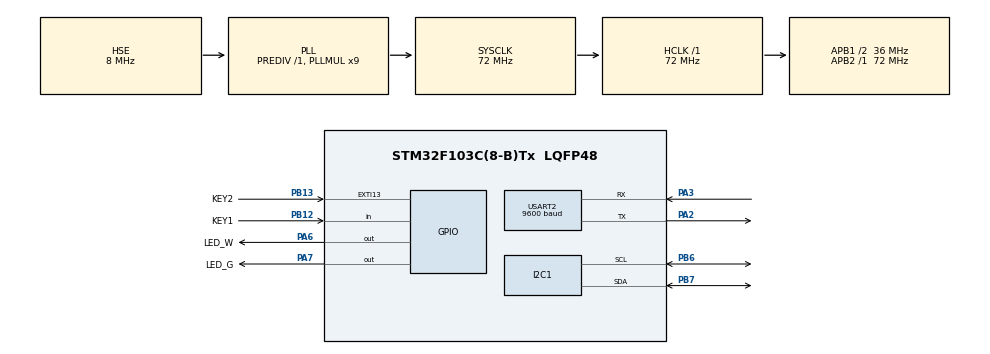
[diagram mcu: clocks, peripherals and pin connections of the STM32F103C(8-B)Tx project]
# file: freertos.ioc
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I2C1.I2C_Mode=I2C_Fast
Mcu.Family=STM32F1
Mcu.Name=STM32F103C(8-B)Tx
Mcu.Package=LQFP48
NVIC.EXTI15_10_IRQn=true\:7\:0\:true\:false\:true\:true\:true\:true
NVIC.PriorityGroup=NVIC_PRIORITYGROUP_4
NVIC.TIM4_IRQn=true\:15\:0\:false\:false\:true\:false\:true\:true
NVIC.TimeBase=TIM4_IRQn
NVIC.TimeBaseIP=TIM4
NVIC.USART2_IRQn=true\:0\:0\:true\:false\:true\:true\:true\:true
PA13.Mode=Serial_Wire
PA13.Signal=SYS_JTMS-SWDIO
PA14.Mode=Serial_Wire
PA14.Signal=SYS_JTCK-SWCLK
PA2.Mode=Asynchronous
PA2.Signal=USART2_TX
PA3.Mode=Asynchronous
PA3.Signal=USART2_RX
PA6.GPIO_Label=LED_W
PA6.Signal=GPIO_Output
PA7.GPIO_Label=LED_G
PA7.Signal=GPIO_Output
PB12.GPIO_Label=KEY1
PB12.GPIO_PuPd=GPIO_PULLUP
PB12.Signal=GPIO_Input
PB13.GPIO_Label=KEY2
PB13.GPIO_ModeDefaultEXTI=GPIO_MODE_IT_FALLING
PB13.GPIO_PuPd=GPIO_PULLUP
PB13.Signal=GPXTI13
PB6.Mode=I2C
PB6.Signal=I2C1_SCL
PB7.Mode=I2C
PB7.Signal=I2C1_SDA
PD0-OSC_IN.Mode=HSE-External-Oscillator
PD0-OSC_IN.Signal=RCC_OSC_IN
PD1-OSC_OUT.Mode=HSE-External-Oscillator
PD1-OSC_OUT.Signal=RCC_OSC_OUT
ProjectManager.HeapSize=0x200
ProjectManager.StackSize=0x400
ProjectManager.TargetToolchain=MDK-ARM V5.27
RCC.AHBFreq_Value=72000000
RCC.APB1CLKDivider=RCC_HCLK_DIV2
RCC.APB1Freq_Value=36000000
RCC.APB1TimFreq_Value=72000000
RCC.APB2Freq_Value=72000000
RCC.APB2TimFreq_Value=72000000
RCC.HCLKFreq_Value=72000000
RCC.PLLMUL=RCC_PLL_MUL9
RCC.PLLSourceVirtual=RCC_PLLSOURCE_HSE
RCC.SYSCLKFreq_VALUE=72000000
RCC.SYSCLKSource=RCC_SYSCLKSOURCE_PLLCLK
RCC.USBFreq_Value=72000000
USART2.BaudRate=9600
USART2.VirtualMode=VM_ASYNC
VP_SYS_VS_tim4.Mode=TIM4
board=custom

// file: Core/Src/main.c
/* USER CODE BEGIN Header */
/**
  ******************************************************************************
  * @file           : main.c
  * @brief          : Main program body
  ******************************************************************************
  * @attention
  *
  * Copyright (c) 2024 STMicroelectronics.
  * All rights reserved.
  *
  * This software is licensed under terms that can be found in the LICENSE file
  * in the root directory of this software component.
  * If no LICENSE file comes with this software, it is provided AS-IS.
  *
  ******************************************************************************
  */
/* USER CODE END Header */
#include "main.h"
#include "i2c.h"
#include "usart.h"
#include "gpio.h"

/* USER CODE BEGIN Includes */
#include <stdio.h>
#include <string.h>
#include "FreeRTOSConfig.h"
#include "FreeRTOS.h"
#include "task.h"
#include "oled.h"
/* USER CODE END Includes */

void SystemClock_Config(void);

/* USER CODE BEGIN 0 */

int fputc(int ch, FILE *f)
{
	HAL_UART_Transmit(&huart2, (uint8_t *)&ch, 1, 0xffff);
	return ch;
}

TaskHandle_t Star_TaskHandle_t, Wled_TaskHandle_t, Gled_TaskHandle_t, Key1_TaskHandle_t, Print_TaskHandle_t;

void Wled_task(void* arg)
{
	while(1)
	{
		HAL_GPIO_TogglePin(LED_W_GPIO_Port, LED_W_Pin);
		vTaskDelay(500);
		printf("Wled_task\r\n");
	}
}

void Gled_task(void* arg)
{
	while(1)
	{
		HAL_GPIO_TogglePin(LED_G_GPIO_Port, LED_G_Pin);
		vTaskDelay(300);
		printf("Gled_task\r\n");
	}
}

void key1_task(void* arg)
{
	uint8_t end_flag = 0;
	printf("key1_task working\r\n");
	while(1)
	{
		if(HAL_GPIO_ReadPin(KEY1_GPIO_Port,KEY1_Pin) == GPIO_PIN_RESET)
		{
			vTaskDelay(50);
			if(HAL_GPIO_ReadPin(KEY1_GPIO_Port,KEY1_Pin) == GPIO_PIN_RESET)
				end_flag += 1;

		}

		if(end_flag == 1)
		{
			if(eTaskGetState(Wled_TaskHandle_t) == eSuspended)
			{
				//恢复任务
				vTaskResume(Wled_TaskHandle_t);
				printf("key1_task resume\r\n");
			}
			else
			{
				//挂起任务
				vTaskSuspend(Wled_TaskHandle_t);
				printf("key1_task suspend\r\n");
			}
			end_flag = 0;
		}

		vTaskDelay(100);
	}

}

void start_task(void* arg)
{
	//进入临界区
	taskENTER_CRITICAL();

	// 创建任务led1灯任务
	if(xTaskCreate(Wled_task, "Wled_task", 32, NULL, 3, &Wled_TaskHandle_t) == 1)
		printf("creat Wled_task sussces\r\n");
	else
		printf("creat Wled_task false\r\n");

	// 创建任务led2灯任务
	if(xTaskCreate(Gled_task, "Gled_task", 32, NULL, 4, &Gled_TaskHandle_t) == 1)
		printf("creat Gled_task sussces\r\n");
	else
		printf("creat Gled_task false\r\n");

	// 创建按键检测任务
	if(xTaskCreate(key1_task, "key1_task", 32, NULL, 5, &Key1_TaskHandle_t) == 1)
		printf("creat key1_task sussces\r\n");
	else
		printf("creat key1_task false\r\n");

	//退出临界区
	taskEXIT_CRITICAL();

	vTaskDelete(NULL);

}

/* USER CODE END 0 */

int main(void)
{

  /* MCU Configuration--------------------------------------------------------*/

  /* Reset of all peripherals, Initializes the Flash interface and the Systick. */
  HAL_Init();

  /* Configure the system clock */
  SystemClock_Config();

  /* Initialize all configured peripherals */
  MX_GPIO_Init();
  MX_USART2_UART_Init();
  MX_I2C1_Init();
  /* USER CODE BEGIN 2 */
  // 刚上电时STM32比OLED启动快，因此需要等待一段时间再初始化OLED
  HAL_Delay(20);
  // 初始化OLED
  OLED_Init();
  // 设置OLED显示模式：正常/反色
  OLED_SetColorMode(OLED_COLOR_NORMAL);
  // 设置OLED显示方向：0°/180°
  OLED_SetOrientation(OLED_Orientation_0);
  // 清空显示缓冲区
  OLED_ClearBuffer();
  // 将缓存内容更新到屏幕显示
  OLED_Refresh();

		// xTaskCreate函数参数说明：
		// 1、任务入口函数
		// 2、任务名称
		// 3、堆栈大小，单位
		// 4、传递给任务的参数
		// 5、任务优先级
		// 6、任务句柄

	if( xTaskCreate(start_task,"start_task",64,NULL,2, &Star_TaskHandle_t) == 1)
		printf("creat start_task sussces\r\n");
	else
		printf("creat start_task false\r\n");

	// 启动任务调度
	vTaskStartScheduler();

  /* USER CODE END 2 */

  /* Infinite loop */
  /* USER CODE BEGIN WHILE */
  while (1)
  {
//		oled_print(10,10,"nooo");
    /* USER CODE END WHILE */

  }
}

void SystemClock_Config(void)
{
  RCC_OscInitTypeDef RCC_OscInitStruct = {0};
  RCC_ClkInitTypeDef RCC_ClkInitStruct = {0};

  /** Initializes the RCC Oscillators according to the specified parameters
  * in the RCC_OscInitTypeDef structure.
  */
  RCC_OscInitStruct.OscillatorType = RCC_OSCILLATORTYPE_HSE;
  RCC_OscInitStruct.HSEState = RCC_HSE_ON;
  RCC_OscInitStruct.HSEPredivValue = RCC_HSE_PREDIV_DIV1;
  RCC_OscInitStruct.HSIState = RCC_HSI_ON;
  RCC_OscInitStruct.PLL.PLLState = RCC_PLL_ON;
  RCC_OscInitStruct.PLL.PLLSource = RCC_PLLSOURCE_HSE;
  RCC_OscInitStruct.PLL.PLLMUL = RCC_PLL_MUL9;
  if (HAL_RCC_OscConfig(&RCC_OscInitStruct) != HAL_OK)
  {
    Error_Handler();
  }

  /** Initializes the CPU, AHB and APB buses clocks
  */
  RCC_ClkInitStruct.ClockType = RCC_CLOCKTYPE_HCLK|RCC_CLOCKTYPE_SYSCLK
                              |RCC_CLOCKTYPE_PCLK1|RCC_CLOCKTYPE_PCLK2;
  RCC_ClkInitStruct.SYSCLKSource = RCC_SYSCLKSOURCE_PLLCLK;
  RCC_ClkInitStruct.AHBCLKDivider = RCC_SYSCLK_DIV1;
  RCC_ClkInitStruct.APB1CLKDivider = RCC_HCLK_DIV2;
  RCC_ClkInitStruct.APB2CLKDivider = RCC_HCLK_DIV1;

  if (HAL_RCC_ClockConfig(&RCC_ClkInitStruct, FLASH_LATENCY_2) != HAL_OK)
  {
    Error_Handler();
  }
}

/* USER CODE BEGIN 4 */

void HAL_GPIO_EXTI_Callback(uint16_t GPIO_Pin)
{

	if(GPIO_Pin == KEY2_Pin)
	{

//		vTaskDelay(10);
		if(HAL_GPIO_ReadPin(KEY2_GPIO_Port,KEY2_Pin) == GPIO_PIN_RESET)
		{
			BaseType_t xYieldRequired;
			//在中断中恢复任务
			xYieldRequired = xTaskResumeFromISR(Wled_TaskHandle_t);
			if(xYieldRequired == pdTRUE)
			{
				portYIELD_FROM_ISR(xYieldRequired);
			}
			printf("key2_task resume from ISR \r\n");
		}

	}
}
/* USER CODE END 4 */

void HAL_TIM_PeriodElapsedCallback(TIM_HandleTypeDef *htim)
{
  if (htim->Instance == TIM4) {
    HAL_IncTick();
  }
}

void Error_Handler(void)
{
  __disable_irq();
  while (1)
  {
  }
}
